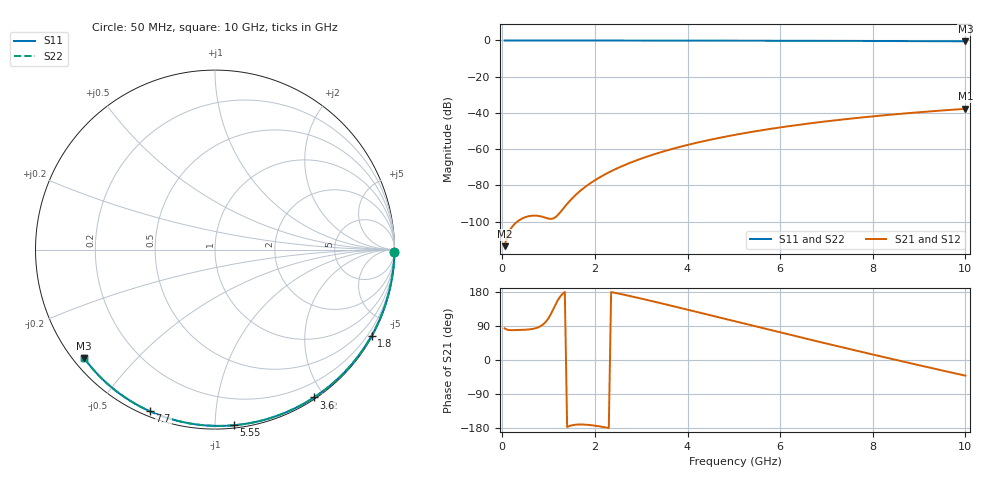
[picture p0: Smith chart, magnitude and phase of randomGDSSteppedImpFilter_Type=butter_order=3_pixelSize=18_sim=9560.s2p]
! freq	dB(S11)	phase(S11)	dB(S12)	phase(S12)
!  dB(S21)	phase(S21)	dB(S22)	phase(S22)
!S-par simulation data
#  GHz  S  DB  R 50
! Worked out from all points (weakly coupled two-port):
!   200 points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, 50 MHz to 10 GHz, reference 50 ohm
!   highest |S21| = -37.74 dB at 10 GHz (marker M1); lowest = -113.6 dB at 50 MHz (marker M2)
!   lowest |S11| = -0.5 dB at 10 GHz (marker M3), VSWR 36.72, Z = 1.54 - j18 ohm
!   |S11| at or under -10 dB: nowhere
!   |S22| runs from -0.5 to 0.0 dB; largest |S21 - S12| = 0
!   S11 on the Smith chart (normalised r, x): 50 MHz: open; 1.8 GHz: 0.03, -3.90; 3.6 GHz: 0.02, -1.87; 5.55 GHz: 0.02, -1.11; 7.7 GHz: 0.02, -0.68; 10 GHz: 0.03, -0.36
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0.05  -0.00 -0.8  -113.56 83.6  -113.56 83.6  -0.00 -0.8
0.45  -0.01 -7.3  -98.04 79.6  -98.04 79.6  -0.01 -7.3
0.9  -0.02 -14.5  -97.60 95.8  -97.60 95.8  -0.02 -14.5
1.75  -0.04 -28.0  -81.63 -170.3  -81.63 -170.3  -0.04 -28.0
1.8  -0.04 -28.8  -80.65 -170.7  -80.65 -170.7  -0.04 -28.8
1.85  -0.04 -29.6  -79.72 -171.2  -79.72 -171.2  -0.04 -29.5
2  -0.04 -31.9  -77.16 -173.3  -77.16 -173.3  -0.04 -31.9
2.15  -0.04 -34.2  -74.87 -176.2  -74.87 -176.2  -0.04 -34.2
2.35  -0.05 -37.3  -72.17 179.3  -72.17 179.3  -0.05 -37.3
2.55  -0.05 -40.4  -69.78 174.3  -69.78 174.3  -0.05 -40.4
2.95  -0.06 -46.5  -65.69 163.5  -65.69 163.5  -0.06 -46.5
3.4  -0.07 -53.2  -61.87 150.6  -61.87 150.6  -0.07 -53.2
3.6  -0.08 -56.2  -60.38 144.7  -60.38 144.7  -0.08 -56.2
4.3  -0.09 -66.3  -55.87 123.8  -55.87 123.8  -0.09 -66.3
5.05  -0.12 -76.9  -51.98 101.3  -51.98 101.3  -0.12 -76.9
5.55  -0.14 -83.8  -49.78 86.3  -49.78 86.3  -0.14 -83.8
6.1  -0.16 -91.2  -47.64 69.9  -47.64 69.9  -0.16 -91.2
6.7  -0.19 -99.1  -45.58 52.2  -45.58 52.2  -0.19 -99.1
7.7  -0.26 -111.9  -42.67 23.1  -42.67 23.1  -0.26 -111.9
8.35  -0.31 -120.0  -41.06 4.5  -41.06 4.5  -0.31 -120.0
9.2  -0.39 -130.5  -39.22 -19.4  -39.22 -19.4  -0.39 -130.5
10  -0.47 -140.4  -37.74 -41.4  -37.74 -41.4  -0.47 -140.4
